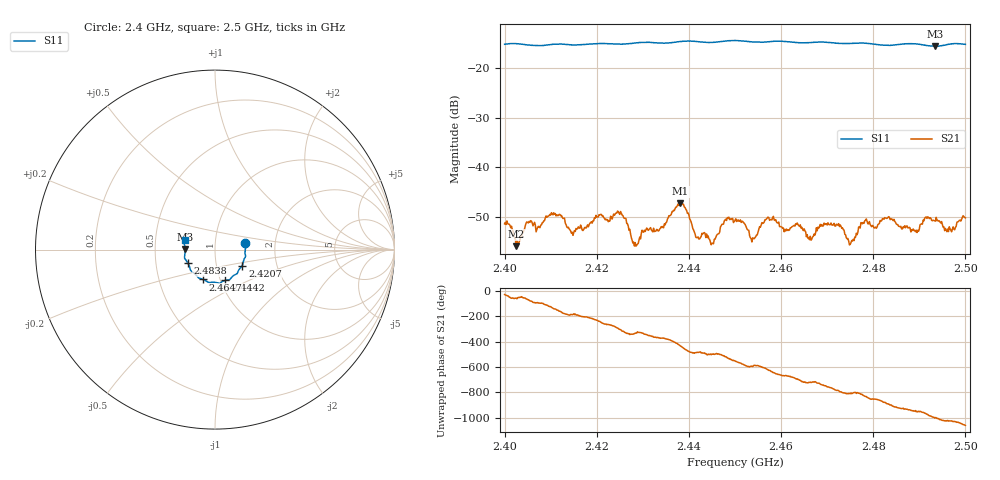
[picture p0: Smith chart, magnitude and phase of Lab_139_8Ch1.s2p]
# Hz S RI R 50
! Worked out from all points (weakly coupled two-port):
!   601 points, 2.4 GHz to 2.5 GHz, reference 50 ohm
!   highest |S21| = -47.20 dB at 2.4382 GHz (marker M1); lowest = -55.9 dB at 2.4025 GHz (marker M2)
!   lowest |S11| = -15.6 dB at 2.4935 GHz (marker M3), VSWR 1.40, Z = 35.8 + j0.131 ohm
!   |S11| at or under -10 dB: start of sweep to end of sweep
!   S12 and S22 are empty: the file has one direction only
!   S11 on the Smith chart (normalised r, x): 2.4 GHz: 1.40, +0.11; 2.4207 GHz: 1.33, -0.24; 2.4442 GHz: 1.05, -0.37; 2.4647 GHz: 0.83, -0.29; 2.4838 GHz: 0.73, -0.11; 2.5 GHz: 0.71, +0.08
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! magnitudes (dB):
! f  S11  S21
! 2.4 GHz  -15.2  -51.4
! 2.4025 GHz  -15.1  -55.9
! 2.4103 GHz  -15.2  -49.4
! 2.4167 GHz  -15.3  -52.1
! 2.4207 GHz  -15.1  -49.6
! 2.425 GHz  -15.2  -49.5
! 2.4283 GHz  -15.0  -55.2
! 2.4333 GHz  -15.0  -52.8
! 2.4382 GHz  -14.7  -47.2
! 2.4418 GHz  -14.7  -54.2
! 2.4442 GHz  -14.9  -53.8
! 2.45 GHz  -14.5  -50.7
! 2.4538 GHz  -14.8  -54.2
! 2.457 GHz  -14.7  -50.2
! 2.4647 GHz  -14.9  -52.4
! 2.4667 GHz  -14.9  -54.4
! 2.472 GHz  -15.0  -51.5
! 2.4753 GHz  -15.1  -54.7
! 2.4833 GHz  -15.5  -49.9
! 2.4838 GHz  -15.4  -50.4
! 2.4935 GHz  -15.6  -50.8
! 2.5 GHz  -15.2  -50.2
